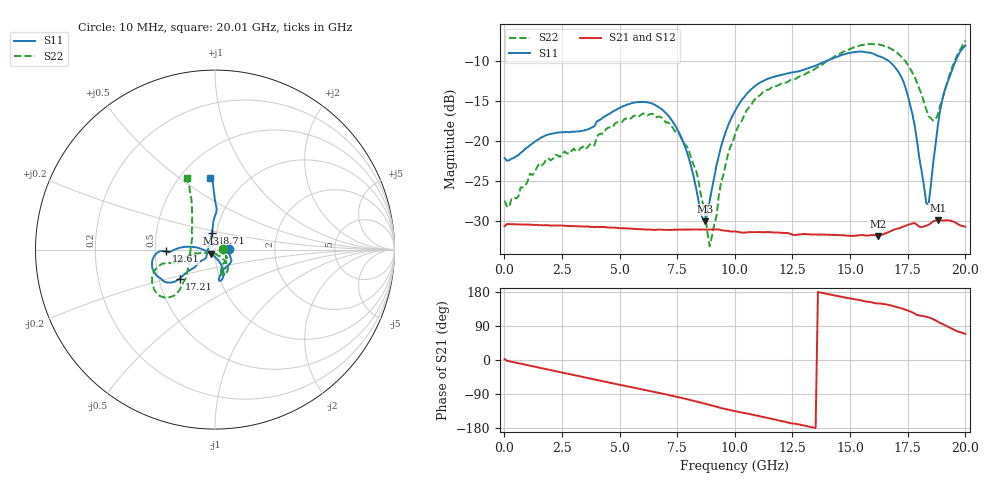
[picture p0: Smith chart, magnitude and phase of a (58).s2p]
! Hittite Microwave Corporation
! 2 Elizabeth Drive
! Chelmsford, MA 01824
! http://www.hittite.com
! Tel: 978-250-3343
! Fax: 978-250-3373
! Device:  HMC424LP3
! Description: 0.5 dB GaAs MMIC 6-Bit Digital Attenuator
! Frequency:  DC -  13.00 GHz
! Package:  LP3  - 3x3 mm Quad Flatpack No-Lead (QFN) Plastic Package: 16 pin
! Ports:  2 RF, 7 DC
!  Pad  1  = Ground
!  Pad  2  = RF IN  =  Port 1
!  Pad  3  = Ground
!  Pad  4  = V6
!  Pad  5  = V5
!  Pad  6  = V4
!  Pad  7  = V3
!  Pad  8  = V2
!  Pad  9  = V1
!  Pad 10  = Ground
!  Pad 11  = RF OUT  = Port 2
!  Pad 12  = Ground
!  Pad 15  = VEE
! Control:  -5 Volt control voltage
! State:  56
! Attenuation:  28.0 dB
! Voltages:  Vdd = -5.00 Volts  Idd =  -2.387 mA
!  V1  = 0.00 Volts  I1  =  29.0 uA
!  V2  = 0.00 Volts  I2  =  29.0 uA
!  V3  = 0.00 Volts  I3  =  29.0 uA
!  V4  = -5.00 Volts  I4  =  -1.0 uA
!  V5  = -5.00 Volts  I5  =  -1.0 uA
!  V6  = -5.00 Volts  I6  =  -1.0 uA
! Data:  The device was measured on evaluation board 105354-1.
!  Data was collected using a calibrated network analyzer.
!  The evaluation circuit board was modeled and simulated.  This was use
!  to removed the evaluation board circuit from the measured data.
!  The reference plane is the edge of the package pin.
! Misc:  Lot xxxx, Unit 1
!  Application 20120001, Data collected in Application 20090083
! Date Measured:  2009-09-15
! Date:  2012-05-14  MJV
! Note:
!  Hittite supplies this data as a sample of measured data at the package pin
!  for this product.  Your particular data for this product may vary.
!  Data was taken at 25 degrees C.
!  Hittite reserves the right to change this data at anytime.
# GHz S MA R 50
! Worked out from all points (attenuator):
!   201 points, 10 MHz to 20.01 GHz, reference 50 ohm
!   highest |S21| = -29.86 dB at 18.81 GHz (marker M1); lowest = -31.9 dB at 16.21 GHz (marker M2)
!   lowest |S11| = -30.0 dB at 8.71 GHz (marker M3), VSWR 1.07, Z = 47.9 - j2.23 ohm
!   |S11| at or under -10 dB: start of sweep to 13.94 GHz; 16.7 GHz to 19.58 GHz (2.877 GHz wide, 15.9 % of centre)
!   |S22| runs from -33.1 to -7.4 dB; largest |S21 - S12| = 0.0019
!   S11 on the Smith chart (normalised r, x): 10 MHz: 1.17, +0.01; 12.61 GHz: 0.57, -0.01; 17.21 GHz: 0.64, -0.22; 18.71 GHz: 0.95, +0.18; 20.01 GHz: 0.69, +0.66
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0.01  0.07846 3.3  0.02945 2.3  0.0304 -0.9  0.04255 6.1
1.51  0.1033 -30.4  0.02985 -20.4  0.02985 -20.3  0.07247 -29.6
3.41  0.1164 -59.2  0.02928 -44.8  0.02925 -45.0  0.09258 -54.2
6.71  0.1631 -74.5  0.02799 -86.9  0.02788 -86.8  0.1429 -63.3
8.01  0.07796 -69.2  0.02801 -104.8  0.02802 -104.7  0.08727 -48.1
8.71  0.03153 -132.3  0.028 -115.2  0.02795 -115.4  0.03559 -65.4
8.91  0.04235 -163.3  0.02805 -118.5  0.02804 -118.6  0.02207 -101.7
9.41  0.09323 174.3  0.02779 -126.8  0.02781 -126.8  0.05585 -159.9
10.01  0.1546 174.0  0.02728 -135.0  0.02717 -134.9  0.1099 -168.9
10.91  0.2233 179.9  0.02702 -146.2  0.027 -146.2  0.1858 -164.0
12.61  0.2709 -177.9  0.02589 -168.1  0.02584 -168.4  0.2443 -162.4
13.41  0.2937 -178.6  0.02608 -178.2  0.02591 -178.1  0.2785 -164.7
16.21  0.3422 -151.7  0.02552 149.2  0.02554 149.4  0.4052 -141.7
16.71  0.3157 -144.2  0.02713 145.0  0.02706 145.2  0.3841 -135.6
17.21  0.2553 -140.8  0.02888 136.9  0.02884 136.7  0.3402 -131.6
17.81  0.1255 -140.7  0.03074 122.2  0.03076 122.3  0.2533 -133.9
18.31  0.04102 -172.0  0.02965 114.1  0.02948 114.1  0.1584 -153.0
18.41  0.04024 149.4  0.03001 112.6  0.02999 112.3  0.1435 -164.3
18.71  0.09414 100.9  0.03197 104.6  0.03188 104.6  0.1365 163.5
18.81  0.1241 95.8  0.03212 101.1  0.03204 101.1  0.1461 149.7
19.21  0.2293 87.8  0.03207 89.3  0.03192 89.5  0.23 123.3
20.01  0.398 93.8  0.0292 69.1  0.02938 70.0  0.4272 111.4
